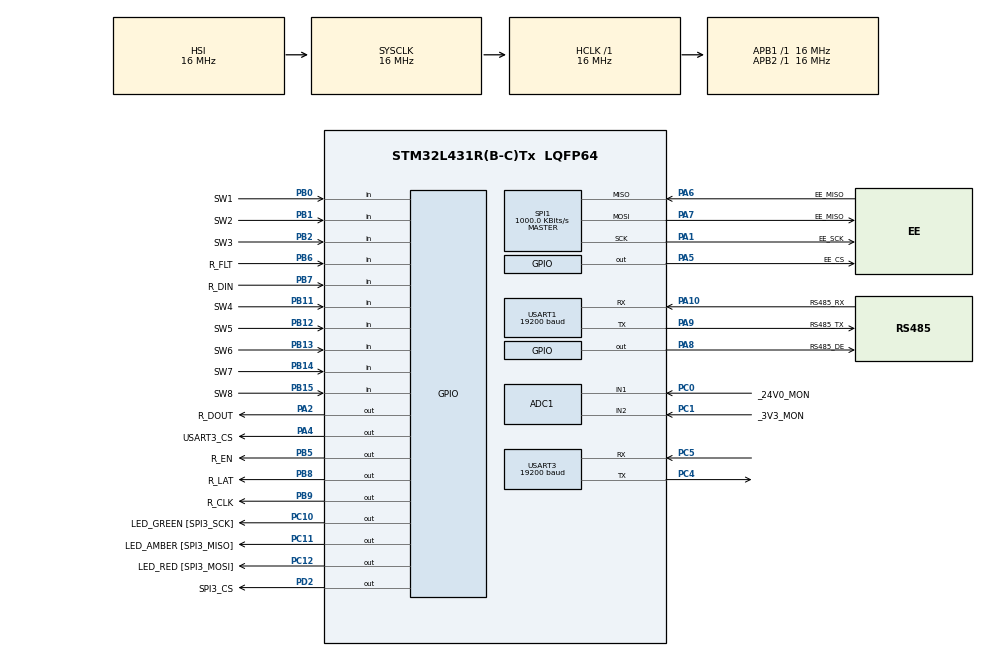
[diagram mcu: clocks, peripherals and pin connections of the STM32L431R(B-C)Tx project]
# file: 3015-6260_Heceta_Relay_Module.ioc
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ADC1.Channel-0\#ChannelRegularConversion=ADC_CHANNEL_1
ADC1.Channel-1\#ChannelRegularConversion=ADC_CHANNEL_2
ADC1.Channel-2\#ChannelRegularConversion=ADC_CHANNEL_TEMPSENSOR
ADC1.Channel-3\#ChannelRegularConversion=ADC_CHANNEL_VREFINT
ADC1.ChannelTS=ADC_CHANNEL_TEMPSENSOR
ADC1.ContinuousConvMode=DISABLE
ADC1.DMAContinuousRequests=ENABLE
ADC1.DiscontinuousConvMode=ENABLE
ADC1.EnableAnalogWatchDog1=false
ADC1.NbrOfConversion=4
ADC1.NbrOfConversionFlag=1
ADC1.OffsetNumber-0\#ChannelRegularConversion=ADC_OFFSET_NONE
ADC1.OffsetNumber-1\#ChannelRegularConversion=ADC_OFFSET_NONE
ADC1.OffsetNumber-2\#ChannelRegularConversion=ADC_OFFSET_NONE
ADC1.OffsetNumber-3\#ChannelRegularConversion=ADC_OFFSET_NONE
ADC1.Overrun=ADC_OVR_DATA_OVERWRITTEN
ADC1.Rank-0\#ChannelRegularConversion=1
ADC1.Rank-1\#ChannelRegularConversion=2
ADC1.Rank-2\#ChannelRegularConversion=3
ADC1.Rank-3\#ChannelRegularConversion=4
ADC1.SamplingTime-0\#ChannelRegularConversion=ADC_SAMPLETIME_247CYCLES_5
ADC1.SamplingTime-1\#ChannelRegularConversion=ADC_SAMPLETIME_247CYCLES_5
ADC1.SamplingTime-2\#ChannelRegularConversion=ADC_SAMPLETIME_247CYCLES_5
ADC1.SamplingTime-3\#ChannelRegularConversion=ADC_SAMPLETIME_247CYCLES_5
ADC1.master=1
CRC.DefaultInitValueUse=DEFAULT_INIT_VALUE_ENABLE
CRC.DefaultPolynomialUse=DEFAULT_POLYNOMIAL_ENABLE
CRC.InputDataFormat=CRC_INPUTDATA_FORMAT_WORDS
Dma.ADC1.0.Direction=DMA_PERIPH_TO_MEMORY
Dma.ADC1.0.Instance=DMA1_Channel1
Dma.ADC1.0.MemDataAlignment=DMA_MDATAALIGN_HALFWORD
Dma.ADC1.0.MemInc=DMA_MINC_ENABLE
Dma.ADC1.0.Mode=DMA_CIRCULAR
Dma.ADC1.0.PeriphDataAlignment=DMA_PDATAALIGN_HALFWORD
Dma.ADC1.0.PeriphInc=DMA_PINC_DISABLE
Dma.ADC1.0.Priority=DMA_PRIORITY_LOW
Dma.Request0=ADC1
IWDG.Prescaler=IWDG_PRESCALER_16
Mcu.Family=STM32L4
Mcu.Name=STM32L431R(B-C)Tx
Mcu.Package=LQFP64
NVIC.DMA1_Channel1_IRQn=true\:0\:0\:false\:false\:true\:false\:true
NVIC.PriorityGroup=NVIC_PRIORITYGROUP_4
NVIC.SPI1_IRQn=true\:0\:0\:false\:false\:true\:true\:true
NVIC.USART1_IRQn=true\:0\:0\:false\:false\:true\:true\:true
NVIC.USART3_IRQn=true\:0\:0\:false\:false\:true\:true\:true
PA1.GPIO_Label=EE_SCK
PA1.Mode=Full_Duplex_Master
PA1.Signal=SPI1_SCK
PA10.GPIO_Label=RS485_RX
PA10.GPIO_PuPd=GPIO_PULLUP
PA10.Mode=Asynchronous
PA10.Signal=USART1_RX
PA13\ (JTMS-SWDIO).Mode=JTAG_4_pins
PA13\ (JTMS-SWDIO).Signal=SYS_JTMS-SWDIO
PA14\ (JTCK-SWCLK).Mode=JTAG_4_pins
PA14\ (JTCK-SWCLK).Signal=SYS_JTCK-SWCLK
PA15\ (JTDI).Mode=JTAG_4_pins
PA15\ (JTDI).Signal=SYS_JTDI
PA2.GPIO_Label=R_DOUT
PA2.Signal=GPIO_Output
PA4.GPIO_Label=USART3_CS
PA4.GPIO_PuPd=GPIO_PULLUP
PA4.Signal=GPIO_Output
PA5.GPIO_Label=EE_CS
PA5.PinState=GPIO_PIN_SET
PA5.Signal=GPIO_Output
PA6.GPIO_Label=EE_MISO
PA6.Mode=Full_Duplex_Master
PA6.Signal=SPI1_MISO
PA7.GPIO_Label=EE_MISO
PA7.Mode=Full_Duplex_Master
PA7.Signal=SPI1_MOSI
PA8.GPIO_Label=RS485_DE
PA8.Signal=GPIO_Output
PA9.GPIO_Label=RS485_TX
PA9.GPIO_PuPd=GPIO_PULLUP
PA9.Mode=Asynchronous
PA9.Signal=USART1_TX
PB0.GPIO_Label=SW1
PB0.GPIO_Mode=GPIO_MODE_INPUT
PB0.GPIO_PuPd=GPIO_PULLUP
PB0.Signal=GPIO_Input
PB1.GPIO_Label=SW2
PB1.GPIO_Mode=GPIO_MODE_INPUT
PB1.GPIO_PuPd=GPIO_PULLUP
PB1.Signal=GPIO_Input
PB11.GPIO_Label=SW4
PB11.GPIO_Mode=GPIO_MODE_INPUT
PB11.GPIO_PuPd=GPIO_PULLUP
PB11.Signal=GPIO_Input
PB12.GPIO_Label=SW5
PB12.GPIO_Mode=GPIO_MODE_INPUT
PB12.GPIO_PuPd=GPIO_PULLUP
PB12.Signal=GPIO_Input
PB13.GPIO_Label=SW6
PB13.GPIO_Mode=GPIO_MODE_INPUT
PB13.GPIO_PuPd=GPIO_PULLUP
PB13.Signal=GPIO_Input
PB14.GPIO_Label=SW7
PB14.GPIO_Mode=GPIO_MODE_INPUT
PB14.GPIO_PuPd=GPIO_PULLUP
PB14.Signal=GPIO_Input
PB15.GPIO_Label=SW8
PB15.GPIO_Mode=GPIO_MODE_INPUT
PB15.GPIO_PuPd=GPIO_PULLUP
PB15.Signal=GPIO_Input
PB2.GPIO_Label=SW3
PB2.GPIO_Mode=GPIO_MODE_INPUT
PB2.GPIO_PuPd=GPIO_PULLUP
PB2.Signal=GPIO_Input
PB3\ (JTDO-TRACESWO).Mode=JTAG_4_pins
PB3\ (JTDO-TRACESWO).Signal=SYS_JTDO-SWO
PB5.GPIO_Label=R_EN
PB5.PinState=GPIO_PIN_SET
PB5.Signal=GPIO_Output
PB6.GPIO_Label=R_FLT
PB6.Signal=GPIO_Input
PB7.GPIO_Label=R_DIN
PB7.Signal=GPIO_Input
PB8.GPIO_Label=R_LAT
PB8.Signal=GPIO_Output
PB9.GPIO_Label=R_CLK
PB9.Signal=GPIO_Output
PC0.GPIO_Label=_24V0_MON
PC0.Signal=ADCx_IN1
PC1.GPIO_Label=_3V3_MON
PC1.Signal=ADCx_IN2
PC10.GPIO_Label=LED_GREEN [SPI3_SCK]
PC10.GPIO_PuPd=GPIO_PULLUP
PC10.GPIO_Speed=GPIO_SPEED_FREQ_HIGH
PC10.PinState=GPIO_PIN_RESET
PC10.Signal=GPIO_Output
PC11.GPIO_Label=LED_AMBER [SPI3_MISO]
PC11.GPIO_PuPd=GPIO_PULLUP
PC11.GPIO_Speed=GPIO_SPEED_FREQ_HIGH
PC11.Signal=GPIO_Output
PC12.GPIO_Label=LED_RED [SPI3_MOSI]
PC12.GPIO_PuPd=GPIO_PULLUP
PC12.GPIO_Speed=GPIO_SPEED_FREQ_HIGH
PC12.Signal=GPIO_Output
PC14-OSC32_IN\ (PC14).Mode=LSE-External-Oscillator
PC14-OSC32_IN\ (PC14).Signal=RCC_OSC32_IN
PC15-OSC32_OUT\ (PC15).Mode=LSE-External-Oscillator
PC15-OSC32_OUT\ (PC15).Signal=RCC_OSC32_OUT
PC4.GPIO_PuPd=GPIO_PULLUP
PC4.Mode=Asynchronous
PC4.Signal=USART3_TX
PC5.GPIO_PuPd=GPIO_PULLUP
PC5.Mode=Asynchronous
PC5.Signal=USART3_RX
PD2.GPIO_Label=SPI3_CS
PD2.GPIO_PuPd=GPIO_PULLUP
PD2.GPIO_Speed=GPIO_SPEED_FREQ_HIGH
PD2.Signal=GPIO_Output
ProjectManager.HeapSize=0x200
ProjectManager.StackSize=0x400
ProjectManager.TargetToolchain=STM32CubeIDE
RCC.ADCFreq_Value=32000000
RCC.AHBFreq_Value=16000000
RCC.APB1Freq_Value=16000000
RCC.APB1TimFreq_Value=16000000
RCC.APB2Freq_Value=16000000
RCC.APB2TimFreq_Value=16000000
RCC.CortexFreq_Value=16000000
RCC.HCLKFreq_Value=16000000
RCC.HSE_VALUE=8000000
RCC.HSI48_VALUE=48000000
RCC.HSI_VALUE=16000000
RCC.MSIClockRange=RCC_MSIRANGE_8
RCC.MSI_VALUE=16000000
RCC.PLLM=2
RCC.PLLSAI1N=16
RCC.PLLSAI1R=RCC_PLLR_DIV4
RCC.PLLSourceVirtual=RCC_PLLSOURCE_HSI
RCC.SYSCLKFreq_VALUE=16000000
RCC.SYSCLKSource=RCC_SYSCLKSOURCE_HSI
RCC.VCOOutputFreq_Value=64000000
SH.ADCx_IN1.0=ADC1_IN1,IN1-Single-Ended
SH.ADCx_IN2.0=ADC1_IN2,IN2-Single-Ended
SPI1.BaudRatePrescaler=SPI_BAUDRATEPRESCALER_16
SPI1.CalculateBaudRate=1000.0 KBits/s
SPI1.DataSize=SPI_DATASIZE_8BIT
SPI1.Direction=SPI_DIRECTION_2LINES
SPI1.Mode=SPI_MODE_MASTER
SPI1.NSSPMode=SPI_NSS_PULSE_DISABLE
SPI1.VirtualType=VM_MASTER
SYS.PVDLevel=PWR_PVDLEVEL_3
TIM2.Channel-Output\ Compare1\ No\ Output=TIM_CHANNEL_1
TIM2.Channel-Output\ Compare2\ No\ Output=TIM_CHANNEL_2
TIM2.OCMode_1=TIM_OCMODE_TIMING
TIM2.Period=0
TIM2.Prescaler=0
USART1.BaudRate=19200
USART1.VirtualMode-Asynchronous=VM_ASYNC
USART3.BaudRate=19200
USART3.DMADisableonRxErrorParam=ADVFEATURE_DMA_DISABLEONRXERROR
USART3.VirtualMode-Asynchronous=VM_ASYNC
VP_ADC1_TempSens_Input.Mode=IN-TempSens
VP_ADC1_Vref_Input.Mode=IN-Vrefint
VP_CRC_VS_CRC.Mode=CRC_Activate
VP_IWDG_VS_IWDG.Mode=IWDG_Activate
VP_SYS_V_PVD_IN.Mode=Mode_PVD_Int
VP_TIM2_VS_ClockSourceINT.Mode=Internal
VP_TIM2_VS_OPM.Mode=OPM_bit
VP_TIM2_VS_no_output1.Mode=Output Compare1 No Output
VP_TIM2_VS_no_output2.Mode=Output Compare2 No Output
board=custom

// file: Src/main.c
/* USER CODE BEGIN Header */
/**
 ******************************************************************************
 * @file           : main.c
 * @brief          : Main program body
 ******************************************************************************
 * @attention
 *
 * <h2><center>&copy; Copyright (c) 2020 STMicroelectronics.
 * All rights reserved.</center></h2>
 *
 * This software component is licensed by ST under BSD 3-Clause license,
 * the "License"; You may not use this file except in compliance with the
 * License. You may obtain a copy of the License at:
 *                        opensource.org/licenses/BSD-3-Clause
 *
 ******************************************************************************
 */
/* USER CODE END Header */
#include "main.h"

/* USER CODE BEGIN Includes */
#include "LED.h"
#include "Relay.h"
#include "Command.h"
#include "Version.h"
#include "UUID.h"
#include "ADC.h"
#include "Debug.h"
#include "ModbusSlave.h"
#include "Configuration.h"
#include "Fault.h"
#include "EEPROM.h"
#include "SPIFlash.h"
#include "RAMIntegrity.h"
#include "OptionByte.h"

/* USER CODE END Includes */

ADC_HandleTypeDef    hadc1;
DMA_HandleTypeDef    hdma_adc1;

CRC_HandleTypeDef    hcrc;

IWDG_HandleTypeDef    hiwdg;

SPI_HandleTypeDef    hspi1;

TIM_HandleTypeDef    htim2;

UART_HandleTypeDef    huart1;
UART_HandleTypeDef    huart3;

/* USER CODE BEGIN PV */
__IO uint16_t    aADCxConvertedValues[ADC_NUM_CHANNELS];

char    testString[] = "This is a test\n\r";

uint16_t    sequenceIndex = 0;

/* USER CODE END PV */

void        SystemClock_Config(void);
static void MX_GPIO_Init(void);
static void MX_DMA_Init(void);
static void MX_ADC1_Init(void);
static void MX_SPI1_Init(void);
static void MX_USART1_UART_Init(void);
static void MX_USART3_UART_Init(void);
static void MX_CRC_Init(void);
static void MX_IWDG_Init(void);
static void MX_TIM2_Init(void);
/* USER CODE BEGIN PFP */
#ifdef __GNUC__
/* With GCC, small printf (option LD Linker->Libraries->Small printf
   set to 'Yes') calls __io_putchar() */
    #define PUTCHAR_PROTOTYPE    int __io_putchar(int ch)
#else/* ifdef __GNUC__ */
    #define PUTCHAR_PROTOTYPE    int fputc(int ch, FILE * f)
#endif/* __GNUC__ */
/* USER CODE END PFP */

int main(void)
{

  /* MCU Configuration--------------------------------------------------------*/

  /* Reset of all peripherals, Initializes the Flash interface and the Systick. */
  HAL_Init();

  /* Configure the system clock */
  SystemClock_Config();

  /* Initialize all configured peripherals */
  MX_GPIO_Init();
  MX_DMA_Init();
  MX_ADC1_Init();
  MX_SPI1_Init();
  MX_USART1_UART_Init();
  MX_USART3_UART_Init();
  MX_CRC_Init();
  MX_IWDG_Init();
  MX_TIM2_Init();
  /* USER CODE BEGIN 2 */
  DEBUG_GPIO_INIT();
  ModbusSlave_Init();

  /* Run the ADC calibration in single-ended mode */
  if (HAL_ADCEx_Calibration_Start(&hadc1, ADC_SINGLE_ENDED) != HAL_OK)
  {
    /* Calibration Error */
    Error_Handler();
  }

  /* Start ADC conversion on regular group with transfer by DMA */
  if (HAL_ADC_Start_DMA(&hadc1,
                        (uint32_t*)aADCxConvertedValues,
                        ADC_NUM_CHANNELS
                       ) != HAL_OK)
  {
    /* Start Error */
    Error_Handler();
  }

  uint32_t    UID = UUID_Get_ID();

  OptionByte_Check();

  // Flow of execution
  // -  Pre-main loop self-tests
  // -  Enter main loop, whether a failure occurs or not.

  // Pre-execution self-test processing loop.
  // Responsible for running all of the self tests that occur before the system boots.
  bool    bSelfTestsNotComplete = true;

  while (bSelfTestsNotComplete)
  {
    bSelfTestsNotComplete = false;

    // LED Startup Test
    LED_Startup_Process();

    // RAM Integrity Test
    RAMIntegrity_Process();

    // ADC Tests
    // -  3V3
    // -  24V
    // -  Temperature
    ADC_Process();

    // Flash CRC Test
    Fault_CRC_Process();

    bSelfTestsNotComplete = !(LED_StartupTasksComplete()
                             && RAMIntegrity_StartupTasksComplete()
                             && ADC_StartupTasksComplete()
                             && Fault_CRC_StartupTasksComplete());

    HAL_IWDG_Refresh(&hiwdg);
  }

  // Upon completion of the self-checks, reset the uwTick to zero.
  uwTick = 0;

  printf("\n\rAll set? All clear--dispatch. [Self-Test Complete]\n\r");
  printf("\n\rHeceta Relay Module v%d.%d.%d, 0x%08lX\n\r> ", SOFTWARE_VERSION_MAJOR, SOFTWARE_VERSION_MINOR, SOFTWARE_VERSION_BUILD, UID);
  sequenceIndex = 1;

  // Refresh the watchdog, just one more time.
  HAL_IWDG_Refresh(&hiwdg);

  /* USER CODE END 2 */

  /* Infinite loop */
  while (1)
  {

    /* USER CODE BEGIN 3 */

    Relay_Process();
    sequenceIndex = 2;

    Fault_CRC_Process();
    sequenceIndex = 3;

    RAMIntegrity_Process();
    sequenceIndex = 4;

    LED_Process();
    sequenceIndex = 5;

    Command_Process();
    sequenceIndex = 6;

    SPIFlash_Process();
    sequenceIndex = 7;

    EEPROM_Process();
    sequenceIndex = 8;

    ModbusSlave_Process();
    sequenceIndex = 9;

    Configuration_Process();
    sequenceIndex = 10;

    ADC_Process();
    sequenceIndex = 11;

    HAL_IWDG_Refresh(&hiwdg);
    sequenceIndex = 1;

  }
  /* USER CODE END 3 */
}

void SystemClock_Config(void)
{
  RCC_OscInitTypeDef          RCC_OscInitStruct = {0};
  RCC_ClkInitTypeDef          RCC_ClkInitStruct = {0};
  RCC_PeriphCLKInitTypeDef    PeriphClkInit     = {0};

  /** Initializes the RCC Oscillators according to the specified parameters
   * in the RCC_OscInitTypeDef structure.
   */
  RCC_OscInitStruct.OscillatorType      = RCC_OSCILLATORTYPE_HSI | RCC_OSCILLATORTYPE_LSI;
  RCC_OscInitStruct.HSIState            = RCC_HSI_ON;
  RCC_OscInitStruct.HSICalibrationValue = RCC_HSICALIBRATION_DEFAULT;
  RCC_OscInitStruct.LSIState            = RCC_LSI_ON;
  RCC_OscInitStruct.PLL.PLLState        = RCC_PLL_NONE;

  if (HAL_RCC_OscConfig(&RCC_OscInitStruct) != HAL_OK)
  {
    Error_Handler();
  }
  /** Initializes the CPU, AHB and APB buses clocks
   */
  RCC_ClkInitStruct.ClockType = RCC_CLOCKTYPE_HCLK | RCC_CLOCKTYPE_SYSCLK
                                | RCC_CLOCKTYPE_PCLK1 | RCC_CLOCKTYPE_PCLK2;
  RCC_ClkInitStruct.SYSCLKSource   = RCC_SYSCLKSOURCE_HSI;
  RCC_ClkInitStruct.AHBCLKDivider  = RCC_SYSCLK_DIV1;
  RCC_ClkInitStruct.APB1CLKDivider = RCC_HCLK_DIV1;
  RCC_ClkInitStruct.APB2CLKDivider = RCC_HCLK_DIV1;

  if (HAL_RCC_ClockConfig(&RCC_ClkInitStruct, FLASH_LATENCY_0) != HAL_OK)
  {
    Error_Handler();
  }
  PeriphClkInit.PeriphClockSelection = RCC_PERIPHCLK_USART1 | RCC_PERIPHCLK_USART3
                                       | RCC_PERIPHCLK_ADC;
  PeriphClkInit.Usart1ClockSelection    = RCC_USART1CLKSOURCE_PCLK2;
  PeriphClkInit.Usart3ClockSelection    = RCC_USART3CLKSOURCE_PCLK1;
  PeriphClkInit.AdcClockSelection       = RCC_ADCCLKSOURCE_PLLSAI1;
  PeriphClkInit.PLLSAI1.PLLSAI1Source   = RCC_PLLSOURCE_HSI;
  PeriphClkInit.PLLSAI1.PLLSAI1M        = 2;
  PeriphClkInit.PLLSAI1.PLLSAI1N        = 16;
  PeriphClkInit.PLLSAI1.PLLSAI1P        = RCC_PLLP_DIV7;
  PeriphClkInit.PLLSAI1.PLLSAI1Q        = RCC_PLLQ_DIV2;
  PeriphClkInit.PLLSAI1.PLLSAI1R        = RCC_PLLR_DIV4;
  PeriphClkInit.PLLSAI1.PLLSAI1ClockOut = RCC_PLLSAI1_ADC1CLK;

  if (HAL_RCCEx_PeriphCLKConfig(&PeriphClkInit) != HAL_OK)
  {
    Error_Handler();
  }

  /** Configure the main internal regulator output voltage
   */
  if (HAL_PWREx_ControlVoltageScaling(PWR_REGULATOR_VOLTAGE_SCALE1) != HAL_OK)
  {
    Error_Handler();
  }
}

static void MX_ADC1_Init(void)
{

  ADC_ChannelConfTypeDef    sConfig = {0};

  /** Common config
   */
  hadc1.Instance                   = ADC1;
  hadc1.Init.ClockPrescaler        = ADC_CLOCK_ASYNC_DIV1;
  hadc1.Init.Resolution            = ADC_RESOLUTION_12B;
  hadc1.Init.DataAlign             = ADC_DATAALIGN_RIGHT;
  hadc1.Init.ScanConvMode          = ADC_SCAN_ENABLE;
  hadc1.Init.EOCSelection          = ADC_EOC_SINGLE_CONV;
  hadc1.Init.LowPowerAutoWait      = DISABLE;
  hadc1.Init.ContinuousConvMode    = DISABLE;
  hadc1.Init.NbrOfConversion       = 4;
  hadc1.Init.DiscontinuousConvMode = ENABLE;
  hadc1.Init.NbrOfDiscConversion   = 1;
  hadc1.Init.ExternalTrigConv      = ADC_SOFTWARE_START;
  hadc1.Init.ExternalTrigConvEdge  = ADC_EXTERNALTRIGCONVEDGE_NONE;
  hadc1.Init.DMAContinuousRequests = ENABLE;
  hadc1.Init.Overrun               = ADC_OVR_DATA_OVERWRITTEN;
  hadc1.Init.OversamplingMode      = DISABLE;

  if (HAL_ADC_Init(&hadc1) != HAL_OK)
  {
    Error_Handler();
  }
  /** Configure Regular Channel
   */
  sConfig.Channel      = ADC_CHANNEL_1;
  sConfig.Rank         = ADC_REGULAR_RANK_1;
  sConfig.SamplingTime = ADC_SAMPLETIME_247CYCLES_5;
  sConfig.SingleDiff   = ADC_SINGLE_ENDED;
  sConfig.OffsetNumber = ADC_OFFSET_NONE;
  sConfig.Offset       = 0;

  if (HAL_ADC_ConfigChannel(&hadc1, &sConfig) != HAL_OK)
  {
    Error_Handler();
  }
  /** Configure Regular Channel
   */
  sConfig.Channel = ADC_CHANNEL_2;
  sConfig.Rank    = ADC_REGULAR_RANK_2;

  if (HAL_ADC_ConfigChannel(&hadc1, &sConfig) != HAL_OK)
  {
    Error_Handler();
  }
  /** Configure Regular Channel
   */
  sConfig.Channel = ADC_CHANNEL_TEMPSENSOR;
  sConfig.Rank    = ADC_REGULAR_RANK_3;

  if (HAL_ADC_ConfigChannel(&hadc1, &sConfig) != HAL_OK)
  {
    Error_Handler();
  }
  /** Configure Regular Channel
   */
  sConfig.Channel = ADC_CHANNEL_VREFINT;
  sConfig.Rank    = ADC_REGULAR_RANK_4;

  if (HAL_ADC_ConfigChannel(&hadc1, &sConfig) != HAL_OK)
  {
    Error_Handler();
  }

}

static void MX_CRC_Init(void)
{

  hcrc.Instance                     = CRC;
  hcrc.Init.DefaultPolynomialUse    = DEFAULT_POLYNOMIAL_ENABLE;
  hcrc.Init.DefaultInitValueUse     = DEFAULT_INIT_VALUE_ENABLE;
  hcrc.Init.InputDataInversionMode  = CRC_INPUTDATA_INVERSION_NONE;
  hcrc.Init.OutputDataInversionMode = CRC_OUTPUTDATA_INVERSION_DISABLE;
  hcrc.InputDataFormat              = CRC_INPUTDATA_FORMAT_WORDS;

  if (HAL_CRC_Init(&hcrc) != HAL_OK)
  {
    Error_Handler();
  }

}

static void MX_IWDG_Init(void)
{

  hiwdg.Instance       = IWDG;
  hiwdg.Init.Prescaler = IWDG_PRESCALER_16;
  hiwdg.Init.Window    = 4095;
  hiwdg.Init.Reload    = 4095;

  if (HAL_IWDG_Init(&hiwdg) != HAL_OK)
  {
    Error_Handler();
  }

}

static void MX_SPI1_Init(void)
{

  /* SPI1 parameter configuration*/
  hspi1.Instance               = SPI1;
  hspi1.Init.Mode              = SPI_MODE_MASTER;
  hspi1.Init.Direction         = SPI_DIRECTION_2LINES;
  hspi1.Init.DataSize          = SPI_DATASIZE_8BIT;
  hspi1.Init.CLKPolarity       = SPI_POLARITY_LOW;
  hspi1.Init.CLKPhase          = SPI_PHASE_1EDGE;
  hspi1.Init.NSS               = SPI_NSS_SOFT;
  hspi1.Init.BaudRatePrescaler = SPI_BAUDRATEPRESCALER_16;
  hspi1.Init.FirstBit          = SPI_FIRSTBIT_MSB;
  hspi1.Init.TIMode            = SPI_TIMODE_DISABLE;
  hspi1.Init.CRCCalculation    = SPI_CRCCALCULATION_DISABLE;
  hspi1.Init.CRCPolynomial     = 7;
  hspi1.Init.CRCLength         = SPI_CRC_LENGTH_DATASIZE;
  hspi1.Init.NSSPMode          = SPI_NSS_PULSE_DISABLE;

  if (HAL_SPI_Init(&hspi1) != HAL_OK)
  {
    Error_Handler();
  }

}

static void MX_TIM2_Init(void)
{

  TIM_ClockConfigTypeDef     sClockSourceConfig = {0};
  TIM_MasterConfigTypeDef    sMasterConfig      = {0};
  TIM_OC_InitTypeDef         sConfigOC          = {0};

  htim2.Instance               = TIM2;
  htim2.Init.Prescaler         = 0;
  htim2.Init.CounterMode       = TIM_COUNTERMODE_UP;
  htim2.Init.Period            = 0;
  htim2.Init.ClockDivision     = TIM_CLOCKDIVISION_DIV1;
  htim2.Init.AutoReloadPreload = TIM_AUTORELOAD_PRELOAD_DISABLE;

  if (HAL_TIM_Base_Init(&htim2) != HAL_OK)
  {
    Error_Handler();
  }
  sClockSourceConfig.ClockSource = TIM_CLOCKSOURCE_INTERNAL;

  if (HAL_TIM_ConfigClockSource(&htim2, &sClockSourceConfig) != HAL_OK)
  {
    Error_Handler();
  }

  if (HAL_TIM_OC_Init(&htim2) != HAL_OK)
  {
    Error_Handler();
  }

  if (HAL_TIM_OnePulse_Init(&htim2, TIM_OPMODE_SINGLE) != HAL_OK)
  {
    Error_Handler();
  }
  sMasterConfig.MasterOutputTrigger = TIM_TRGO_RESET;
  sMasterConfig.MasterSlaveMode     = TIM_MASTERSLAVEMODE_DISABLE;

  if (HAL_TIMEx_MasterConfigSynchronization(&htim2, &sMasterConfig) != HAL_OK)
  {
    Error_Handler();
  }
  sConfigOC.OCMode     = TIM_OCMODE_TIMING;
  sConfigOC.Pulse      = 0;
  sConfigOC.OCPolarity = TIM_OCPOLARITY_HIGH;
  sConfigOC.OCFastMode = TIM_OCFAST_DISABLE;

  if (HAL_TIM_OC_ConfigChannel(&htim2, &sConfigOC, TIM_CHANNEL_1) != HAL_OK)
  {
    Error_Handler();
  }

  if (HAL_TIM_OC_ConfigChannel(&htim2, &sConfigOC, TIM_CHANNEL_2) != HAL_OK)
  {
    Error_Handler();
  }
  /* USER CODE BEGIN TIM2_Init 2 */

  // Write directly to the registers to create "trigger" values.
  // Note that these trigger values should, in reality, be set by macros.
  ModbusSlave_SetupTimerValues(&htim2);

  // Set up interrupts for the timer channels.

  /* USER CODE END TIM2_Init 2 */

}

static void MX_USART1_UART_Init(void)
{

  /* USER CODE BEGIN USART1_Init 0 */
  Configuration_Init();

  huart1.Instance        = USART1;
  huart1.Init.BaudRate   = Configuration_GetBaudRate();
  huart1.Init.WordLength = (Configuration_GetWordLength() == 8) ? UART_WORDLENGTH_8B : UART_WORDLENGTH_9B;
  huart1.Init.StopBits   = (Configuration_GetStopBits() == 2) ? UART_STOPBITS_2 : UART_STOPBITS_1;
  huart1.Init.Parity     = (Configuration_GetParity() == 0) ? UART_PARITY_NONE :
                           ((Configuration_GetParity() == 2) ? UART_PARITY_EVEN : UART_PARITY_ODD);
  huart1.Init.Mode                   = UART_MODE_TX_RX;
  huart1.Init.HwFlowCtl              = UART_HWCONTROL_NONE;
  huart1.Init.OverSampling           = UART_OVERSAMPLING_16;
  huart1.Init.OneBitSampling         = UART_ONE_BIT_SAMPLE_DISABLE;
  huart1.AdvancedInit.AdvFeatureInit = UART_ADVFEATURE_NO_INIT;

  if (HAL_UART_Init(&huart1) != HAL_OK)
  {
    Error_Handler();
  }
  else
  {
    // There's no logical way to reach the end of this function.
    // I've done this intentionally so that we can define our own
    // stop bits, parity, and baud rate.
    return;
  }

  /* USER CODE END USART1_Init 0 */

  huart1.Instance                    = USART1;
  huart1.Init.BaudRate               = 19200;
  huart1.Init.WordLength             = UART_WORDLENGTH_8B;
  huart1.Init.StopBits               = UART_STOPBITS_1;
  huart1.Init.Parity                 = UART_PARITY_NONE;
  huart1.Init.Mode                   = UART_MODE_TX_RX;
  huart1.Init.HwFlowCtl              = UART_HWCONTROL_NONE;
  huart1.Init.OverSampling           = UART_OVERSAMPLING_16;
  huart1.Init.OneBitSampling         = UART_ONE_BIT_SAMPLE_DISABLE;
  huart1.AdvancedInit.AdvFeatureInit = UART_ADVFEATURE_NO_INIT;

  if (HAL_UART_Init(&huart1) != HAL_OK)
  {
    Error_Handler();
  }

}

static void MX_USART3_UART_Init(void)
{

  huart3.Instance                         = USART3;
  huart3.Init.BaudRate                    = 19200;
  huart3.Init.WordLength                  = UART_WORDLENGTH_8B;
  huart3.Init.StopBits                    = UART_STOPBITS_1;
  huart3.Init.Parity                      = UART_PARITY_NONE;
  huart3.Init.Mode                        = UART_MODE_TX_RX;
  huart3.Init.HwFlowCtl                   = UART_HWCONTROL_NONE;
  huart3.Init.OverSampling                = UART_OVERSAMPLING_16;
  huart3.Init.OneBitSampling              = UART_ONE_BIT_SAMPLE_DISABLE;
  huart3.AdvancedInit.AdvFeatureInit      = UART_ADVFEATURE_DMADISABLEONERROR_INIT;
  huart3.AdvancedInit.DMADisableonRxError = UART_ADVFEATURE_DMA_DISABLEONRXERROR;

  if (HAL_UART_Init(&huart3) != HAL_OK)
  {
    Error_Handler();
  }
  /* USER CODE BEGIN USART3_Init 2 */
  setvbuf(stdout, NULL, _IONBF, 0);
  /* USER CODE END USART3_Init 2 */

}

static void MX_DMA_Init(void)
{

  /* DMA controller clock enable */
  __HAL_RCC_DMA1_CLK_ENABLE();

  /* DMA interrupt init */
  /* DMA1_Channel1_IRQn interrupt configuration */
  HAL_NVIC_SetPriority(DMA1_Channel1_IRQn, 0, 0);
  HAL_NVIC_EnableIRQ(DMA1_Channel1_IRQn);

}

static void MX_GPIO_Init(void)
{
  GPIO_InitTypeDef    GPIO_InitStruct = {0};

  /* GPIO Ports Clock Enable */
  __HAL_RCC_GPIOC_CLK_ENABLE();
  __HAL_RCC_GPIOA_CLK_ENABLE();
  __HAL_RCC_GPIOB_CLK_ENABLE();
  __HAL_RCC_GPIOD_CLK_ENABLE();

  /*Configure GPIO pin Output Level */
  HAL_GPIO_WritePin(GPIOA, R_DOUT_Pin | USART3_CS_Pin | RS485_DE_Pin, GPIO_PIN_RESET);

  /*Configure GPIO pin Output Level */
  HAL_GPIO_WritePin(EE_CS_GPIO_Port, EE_CS_Pin, GPIO_PIN_SET);

  /*Configure GPIO pin Output Level */
  HAL_GPIO_WritePin(GPIOC, LED_GREEN_Pin | LED_AMBER_Pin | LED_RED_Pin, GPIO_PIN_RESET);

  /*Configure GPIO pin Output Level */
  HAL_GPIO_WritePin(SPI3_CS_GPIO_Port, SPI3_CS_Pin, GPIO_PIN_RESET);

  /*Configure GPIO pin Output Level */
  HAL_GPIO_WritePin(R_EN_GPIO_Port, R_EN_Pin, GPIO_PIN_SET);

  /*Configure GPIO pin Output Level */
  HAL_GPIO_WritePin(GPIOB, R_LAT_Pin | R_CLK_Pin, GPIO_PIN_RESET);

  /*Configure GPIO pins : R_DOUT_Pin EE_CS_Pin RS485_DE_Pin */
  GPIO_InitStruct.Pin   = R_DOUT_Pin | EE_CS_Pin | RS485_DE_Pin;
  GPIO_InitStruct.Mode  = GPIO_MODE_OUTPUT_PP;
  GPIO_InitStruct.Pull  = GPIO_NOPULL;
  GPIO_InitStruct.Speed = GPIO_SPEED_FREQ_LOW;
  HAL_GPIO_Init(GPIOA, &GPIO_InitStruct);

  /*Configure GPIO pin : USART3_CS_Pin */
  GPIO_InitStruct.Pin   = USART3_CS_Pin;
  GPIO_InitStruct.Mode  = GPIO_MODE_OUTPUT_PP;
  GPIO_InitStruct.Pull  = GPIO_PULLUP;
  GPIO_InitStruct.Speed = GPIO_SPEED_FREQ_LOW;
  HAL_GPIO_Init(USART3_CS_GPIO_Port, &GPIO_InitStruct);

  /*Configure GPIO pins : SW1_Pin SW2_Pin SW3_Pin SW4_Pin
                           SW5_Pin SW6_Pin SW7_Pin SW8_Pin */
  GPIO_InitStruct.Pin = SW1_Pin | SW2_Pin | SW3_Pin | SW4_Pin
                        | SW5_Pin | SW6_Pin | SW7_Pin | SW8_Pin;
  GPIO_InitStruct.Mode = GPIO_MODE_INPUT;
  GPIO_InitStruct.Pull = GPIO_PULLUP;
  HAL_GPIO_Init(GPIOB, &GPIO_InitStruct);

  /*Configure GPIO pins : LED_GREEN_Pin LED_AMBER_Pin LED_RED_Pin */
  GPIO_InitStruct.Pin   = LED_GREEN_Pin | LED_AMBER_Pin | LED_RED_Pin;
  GPIO_InitStruct.Mode  = GPIO_MODE_OUTPUT_PP;
  GPIO_InitStruct.Pull  = GPIO_PULLUP;
  GPIO_InitStruct.Speed = GPIO_SPEED_FREQ_HIGH;
  HAL_GPIO_Init(GPIOC, &GPIO_InitStruct);

  /*Configure GPIO pin : SPI3_CS_Pin */
  GPIO_InitStruct.Pin   = SPI3_CS_Pin;
  GPIO_InitStruct.Mode  = GPIO_MODE_OUTPUT_PP;
  GPIO_InitStruct.Pull  = GPIO_PULLUP;
  GPIO_InitStruct.Speed = GPIO_SPEED_FREQ_HIGH;
  HAL_GPIO_Init(SPI3_CS_GPIO_Port, &GPIO_InitStruct);

  /*Configure GPIO pins : R_EN_Pin R_LAT_Pin R_CLK_Pin */
  GPIO_InitStruct.Pin   = R_EN_Pin | R_LAT_Pin | R_CLK_Pin;
  GPIO_InitStruct.Mode  = GPIO_MODE_OUTPUT_PP;
  GPIO_InitStruct.Pull  = GPIO_NOPULL;
  GPIO_InitStruct.Speed = GPIO_SPEED_FREQ_LOW;
  HAL_GPIO_Init(GPIOB, &GPIO_InitStruct);

  /*Configure GPIO pins : R_FLT_Pin R_DIN_Pin */
  GPIO_InitStruct.Pin  = R_FLT_Pin | R_DIN_Pin;
  GPIO_InitStruct.Mode = GPIO_MODE_INPUT;
  GPIO_InitStruct.Pull = GPIO_NOPULL;
  HAL_GPIO_Init(GPIOB, &GPIO_InitStruct);

}

/* USER CODE BEGIN 4 */

/**
 * @brief  Retargets the C library printf function to the USART.
 * @param  None
 * @retval None
 */
PUTCHAR_PROTOTYPE
{
  /* Place your implementation of fputc here */
  /* e.g. write a character to the USART1 and Loop until the end of transmission */
  HAL_UART_Transmit(&huart3, (uint8_t*)&ch, 1, 0xFFFF);

  ITM_SendChar(ch);

  return ch;
}

/* USER CODE END 4 */

void Error_Handler(void)
{
  /* USER CODE BEGIN Error_Handler_Debug */
  /* User can add his own implementation to report the HAL error return state */

  // TODO:  Implement a better error handler here, other than simply printing this.
  printf("There was an error!");
  /* USER CODE END Error_Handler_Debug */
}

/************************ (C) COPYRIGHT STMicroelectronics *****END OF FILE****/
